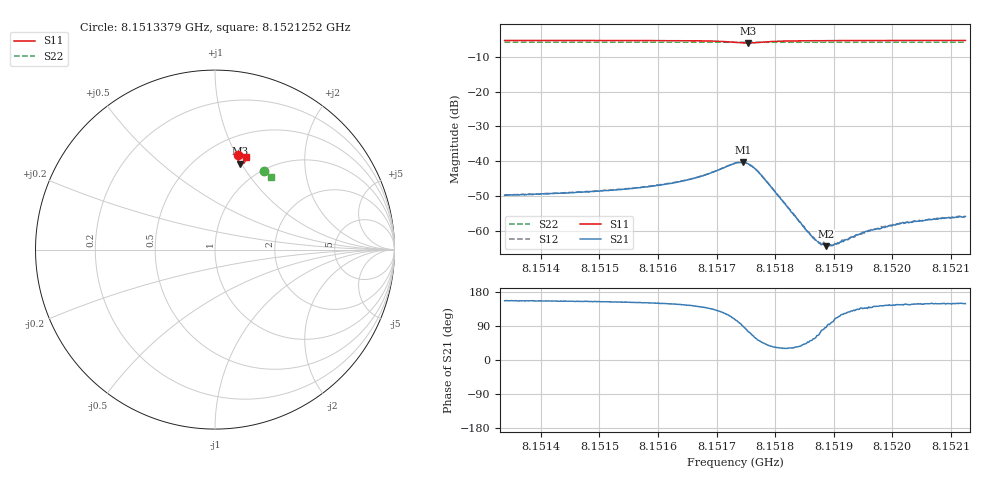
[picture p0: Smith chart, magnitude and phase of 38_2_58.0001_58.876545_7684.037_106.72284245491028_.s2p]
#  HZ  S  RI  R  50.00
! Rohde & Schwarz Vector Network Analyzer
! Rohde-Schwarz,ZNB20-2Port,1311601062101988,3.16
! Created: UTC 3/21/2024, 12:51:58 AM
! freq[Hz]  re:S11  im:S11  re:S21  im:S21  re:S12  im:S12  re:S22  im:S22
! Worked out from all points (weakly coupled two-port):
!   401 points, 8.1513379 GHz to 8.1521252 GHz, reference 50 ohm
!   highest |S21| = -40.27 dB at 8.1517453 GHz (marker M1); lowest = -64.5 dB at 8.1518871 GHz (marker M2)
!   lowest |S11| = -6.0 dB at 8.1517532 GHz (marker M3), VSWR 3.00, Z = 38.8 + j49.6 ohm
!   |S11| at or under -10 dB: nowhere
!   |S22| runs from -5.8 to -5.8 dB; largest |S21 - S12| = 0.00033
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8.1513379e9  0.13 0.5279  -0.00294 0.00129  -0.00298 0.00131  0.2725 0.4358
8.15146978e9  0.1407 0.5251  -0.00322 0.00152  -0.00322 0.00159  0.2796 0.4311
8.15153867e9  0.147 0.5231  -0.00347 0.0018  -0.00347 0.00187  0.2834 0.4285
8.15160165e9  0.1538 0.5202  -0.00387 0.00226  -0.00388 0.00237  0.2867 0.4261
8.15164102e9  0.1589 0.517  -0.00426 0.00289  -0.00424 0.00297  0.2889 0.4245
8.15166857e9  0.1631 0.5131  -0.00455 0.00365  -0.00456 0.00375  0.2904 0.4232
8.15173156e9  0.1636 0.4849  -0.00268 0.0089  -0.00261 0.00896  0.2931 0.4201
8.15174534e9  0.151 0.4782  0.000171 0.00969  0.000311 0.00958  0.2933 0.4197
8.15175321e9  0.1418 0.4792  0.00219 0.00897  0.00216 0.00895  0.2933 0.4194
8.15176305e9  0.1327 0.4858  0.00363 0.00723  0.0038 0.00719  0.2937 0.4195
8.15177486e9  0.1286 0.4963  0.00422 0.00489  0.00429 0.00488  0.2941 0.4194
8.15186343e9  0.1484 0.5192  0.000492 0.000648  0.000504 0.000638  0.2996 0.4167
8.15187524e9  0.1504 0.5194  0.000261 0.000617  0.000237 0.000608  0.3003 0.4162
8.15188705e9  0.1521 0.5195  4.6e-05 0.000593  6.21e-05 0.000628  0.301 0.4158
8.15189689e9  0.1535 0.5196  -0.000103 0.0006  -0.000118 0.000599  0.3014 0.4154
8.15192051e9  0.1566 0.5194  -0.000401 0.000615  -0.00038 0.000618  0.3028 0.4144
8.15194216e9  0.1589 0.5191  -0.000596 0.000631  -0.000626 0.000636  0.3037 0.4135
8.15195201e9  0.1599 0.519  -0.000673 0.000624  -0.000699 0.00064  0.3044 0.4132
8.15199531e9  0.1642 0.5182  -0.000973 0.000662  -0.000958 0.00068  0.3067 0.4115
8.1520209e9  0.1665 0.5178  -0.00106 0.000693  -0.00107 0.000732  0.308 0.4104
8.15206026e9  0.17 0.5169  -0.00122 0.000745  -0.0012 0.000766  0.3099 0.4089
8.15212521e9  0.1751 0.5155  -0.00136 0.000827  -0.00135 0.000837  0.3133 0.4062
